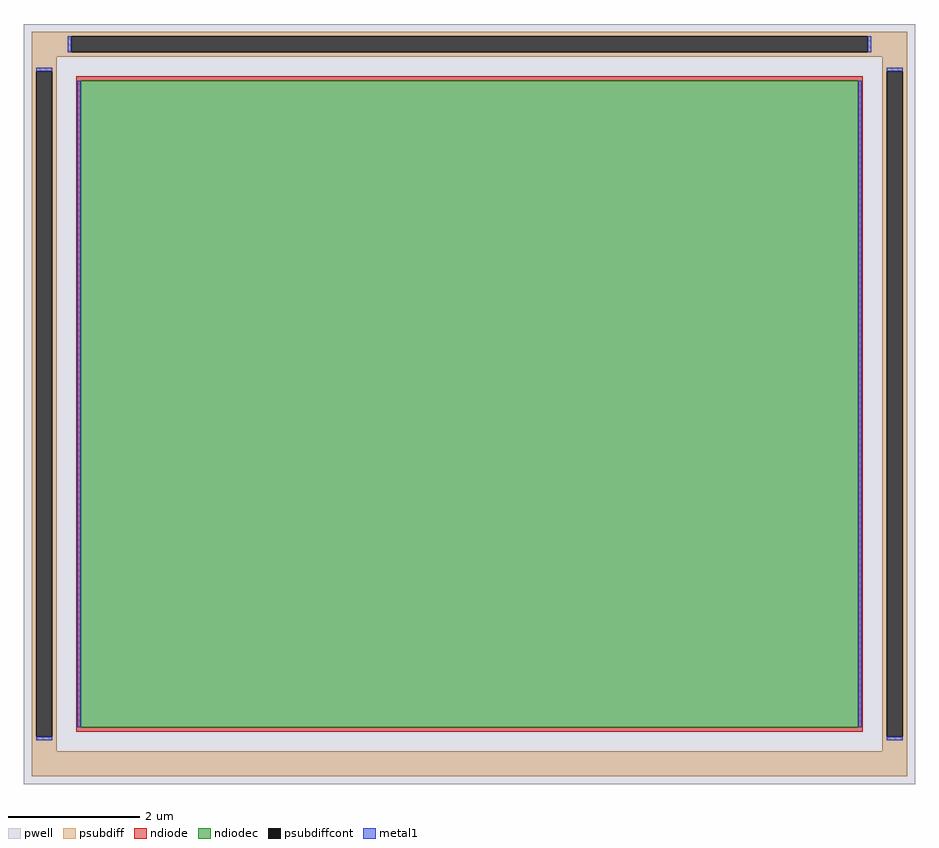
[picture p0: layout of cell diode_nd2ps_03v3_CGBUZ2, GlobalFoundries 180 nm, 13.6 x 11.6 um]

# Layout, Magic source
magic
tech gf180mcuD
magscale 1 10
<< pwell >>
rect -1360 -1160 1360 1160
<< psubdiff >>
rect -1336 1123 1336 1136
rect -1336 1073 -1216 1123
rect 1216 1073 1336 1123
rect -1336 1060 1336 1073
rect -1336 1016 -1260 1060
rect -1336 -1016 -1323 1016
rect -1273 -1016 -1260 1016
rect 1260 1016 1336 1060
rect -1336 -1060 -1260 -1016
rect 1260 -1016 1273 1016
rect 1323 -1016 1336 1016
rect 1260 -1060 1336 -1016
rect -1336 -1136 1336 -1060
<< psubdiffcont >>
rect -1216 1073 1216 1123
rect -1323 -1016 -1273 1016
rect 1273 -1016 1323 1016
<< ndiode >>
rect -1200 987 1200 1000
rect -1200 -987 -1187 987
rect 1187 -987 1200 987
rect -1200 -1000 1200 -987
<< ndiodec >>
rect -1187 -987 1187 987
<< metal1 >>
rect -1227 1073 -1216 1123
rect 1216 1073 1227 1123
rect -1323 1016 -1273 1027
rect 1273 1016 1323 1027
rect -1198 -987 -1187 987
rect 1187 -987 1198 987
rect -1323 -1027 -1273 -1016
rect 1273 -1027 1323 -1016
<< properties >>
string FIXED_BBOX -1298 -1098 1298 1098
string gencell diode_nd2ps_03v3
string library gf180mcu
string parameters w 12 l 10 area 120.0 peri 44.0 nx 1 ny 1 dummy 0 lmin 0.45 wmin 0.45 class diode elc 1 erc 1 etc 1 ebc 0 doverlap 0 full_metal 0 compatible {diode_nd2ps_03v3 diode_nd2ps_06v0}
<< end >>
